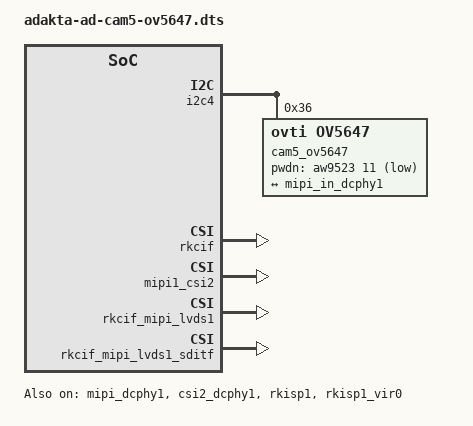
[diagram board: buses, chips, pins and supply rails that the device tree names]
/dts-v1/;
/plugin/;

#include <dt-bindings/clock/rk3588-cru.h>
#include <dt-bindings/power/rk3588-power.h>
#include <dt-bindings/gpio/gpio.h>
#include <dt-bindings/pinctrl/rockchip.h>

/ {
	metadata {
		title = "Enable Raspberry Pi Camera V2 5";
		compatible = "adakta,adakta-ad-rk3588";
		category = "camera";
		description = "Enable Raspberry Pi Camera V2 5";
	};

	fragment@0 {
		target = <&i2c4>;

		__overlay__ {
			status = "okay";

			cam5_ov5647: cam5_ov5647@36 {
				status = "okay";

				compatible = "ovti,ov5647";
				reg = <0x36>;

				pinctrl-names = "default";
				pinctrl-0 = <&aw9523_cam5_powerdown_pins>;

				pwdn-gpios = <&aw9523 11 GPIO_ACTIVE_LOW>;

				clocks = <&ext_cam_clk>;
				clock-names = "xvclk";

				rockchip,camera-module-index = <5>;
				rockchip,camera-module-facing = "back";
				rockchip,camera-module-name = "KLT-OV5647";
				rockchip,camera-module-lens-name = "default";

				port {
					cam5_ov5647_out: endpoint {
						remote-endpoint = <&mipi_in_dcphy1>;
						data-lanes = <1 2>;
					};
				};
			};
		};
	};

	fragment@1 {
		target = <&mipi_in_dcphy1>;

		__overlay__ {
			remote-endpoint = <&cam5_ov5647_out>;
			data-lanes = <1 2>;
		};
	};

	fragment@2 {
		target = <&rkcif>;

		__overlay__ {
			status = "okay";
		};
	};

	fragment@3 {
		target = <&rkcif_mmu>;

		__overlay__ {
			status = "okay";
		};
	};

	fragment@4 {
		target = <&mipi_dcphy1>;

		__overlay__ {
			status = "okay";
		};
	};

	fragment@5 {
		target = <&csi2_dcphy1>;

		__overlay__ {
			status = "okay";
		};
	};

	fragment@6 {
		target = <&mipi1_csi2>;

		__overlay__ {
			status = "okay";
		};
	};

	fragment@7 {
		target = <&rkcif_mipi_lvds1>;

		__overlay__ {
			status = "okay";
		};
	};

	fragment@8 {
		target = <&rkcif_mipi_lvds1_sditf>;

		__overlay__ {
			status = "okay";
		};
	};

	fragment@9 {
		target = <&rkisp1>;

		__overlay__ {
			status = "okay";
		};
	};

	fragment@10 {
		target = <&isp1_mmu>;

		__overlay__ {
			status = "okay";
		};
	};

	fragment@11 {
		target = <&rkisp1_vir0>;

		__overlay__ {
			status = "okay";
		};
	};
};
